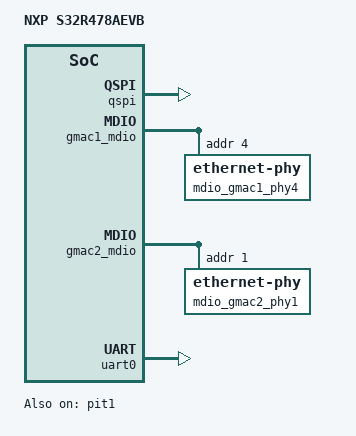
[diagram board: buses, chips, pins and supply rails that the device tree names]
// SPDX-License-Identifier: (GPL-2.0+ OR BSD-3-Clause)
/*
 * Device Tree file for NXP S32R47.
 *
 * Copyright 2025 NXP
 */

#include "s32r47.dtsi"
#if (S32R47_W_S32R45 == 1)
#include "s32r47_w_r45.dtsi"
#endif
#include "s32r47-nxp-flash-micron.dtsi"

/ {
	model = "NXP S32R478AEVB";
	compatible = "nxp,s32r47";
};

&qspi {
	status = "okay";
};

&gmac1_mdio {
	#address-cells = <1>;
	#size-cells = <0>;

	/* TJA1120B */
	mdio_gmac1_phy4: ethernet-phy@4 {
		reg = <4>;
	};
};

&gmac2_mdio {
	#address-cells = <1>;
	#size-cells = <0>;

	/* TJA1120B */
	mdio_gmac2_phy1: ethernet-phy@1 {
		reg = <1>;
	};
};

&pit1 {
	status = "okay";
};

&uart0 {
	status = "okay";
};
